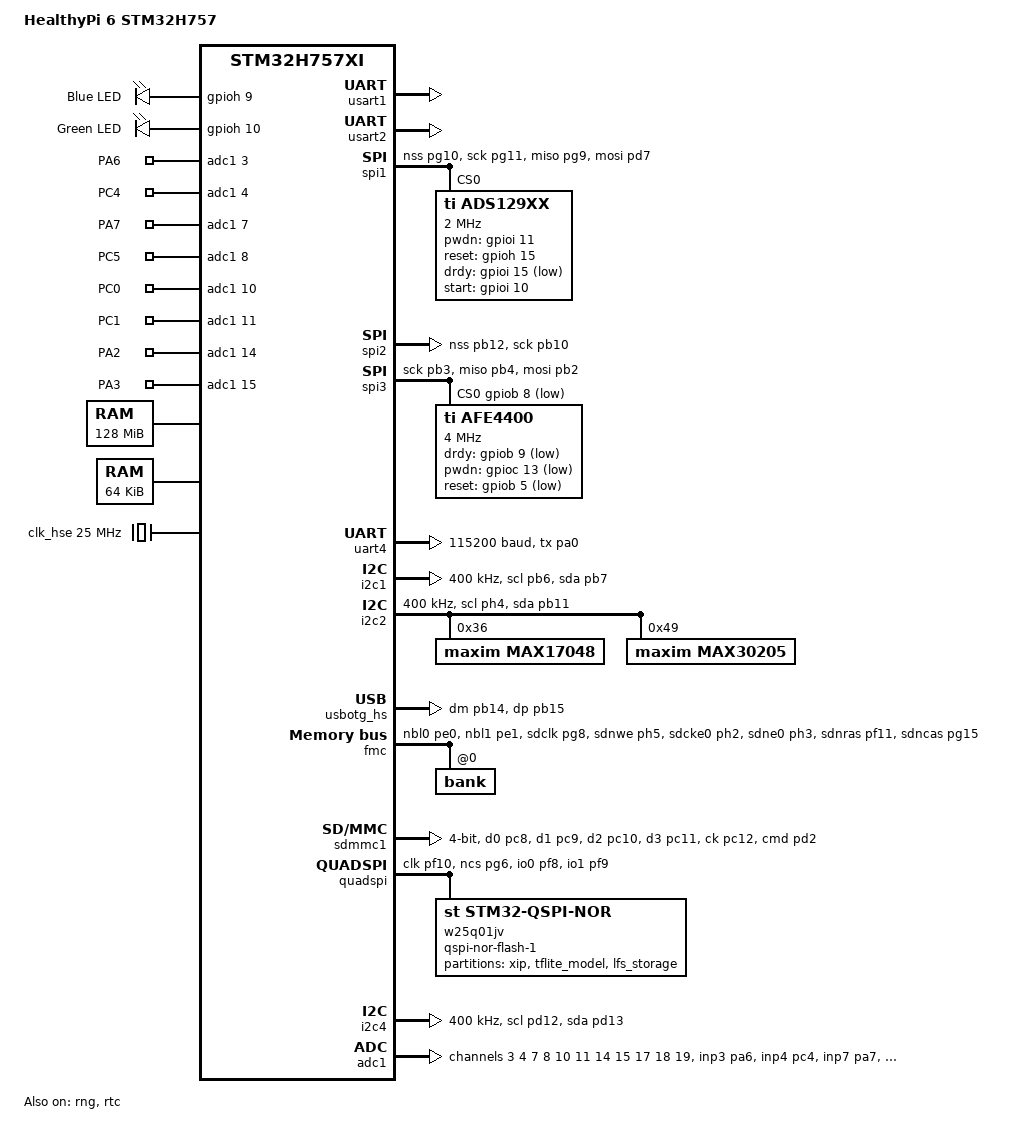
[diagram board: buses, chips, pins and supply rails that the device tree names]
/*
 * Copyright (c) 2019 Linaro Limited
 *
 * SPDX-License-Identifier: Apache-2.0
 */

/dts-v1/;
#include <st/h7/stm32h757Xi_m7.dtsi>
#include <st/h7/stm32h757bitx-pinctrl.dtsi>
#include <zephyr/dt-bindings/memory-attr/memory-attr-arm.h>
#include <zephyr/dt-bindings/adc/adc.h>
#include "healthypi6_v2.dtsi"
/* HealthyLink base definitions now integrated into healthypi6_v2.dtsi */

/* Custom pinctrl for UART4 RX - no pull-up (external resistor on board if needed) */
&pinctrl {
	uart4_rx_pi9_nopull: uart4_rx_pi9_nopull {
		pinmux = <STM32_PINMUX('I', 9, AF8)>;
		/* bias-pull-up disabled - rely on external pull-up if needed */
	};
};

/ {
	model = "HealthyPi 6 STM32H757";
	compatible = "protocentral,healthypi6_v2";

	/* HW resources are split between CM7 and CM4 */
	chosen {
		zephyr,console = &usart1;
		zephyr,shell-uart = &usart1;
		zephyr,sram = &sram0;
		zephyr,flash = &flash0;
		zephyr,flash-controller = &w25q01jv;
		// zephyr,bt-hci = &bt_hci_uart; // Removed for ESP32-C6 UART
		//zephyr,display = &zephyr_lcdif;//&ltdc;
		/* MCUmgr UART transport via ESP32 TCP-to-UART gateway */
		zephyr,uart-mcumgr = &uart4;
	};

	leds {
		compatible = "gpio-leds";
		blue_led: led_blue {
			gpios = <&gpioh 9 GPIO_ACTIVE_HIGH>;
			label = "Blue LED";
			status = "okay";
		};
		green_led: led_green {
			gpios = <&gpioh 10 GPIO_ACTIVE_HIGH>;
			label = "Green LED";
			status = "okay";
		};
	};

	aliases {
		blue-led = &blue_led;
		green-led = &green_led;
	};

	/* Expansion analog inputs. */
	zephyr,user {
		io-channels = <&adc1 3>,   /* PA6 - INP3 */
		              <&adc1 4>,   /* PC4 - INP4 */
		              <&adc1 7>,   /* PA7 - INP7 */
		              <&adc1 8>,   /* PC5 - INP8 */
		              <&adc1 10>,  /* PC0 - INP10 */
		              <&adc1 11>,  /* PC1 - INP11 */
		              <&adc1 14>,  /* PA2 - INP14 */
		              <&adc1 15>,  /* PA3 - INP15 */
		              <&adc1 17>,  /* PA1 - INP17 */
		              <&adc1 18>,  /* PA4 - INP18 */
		              <&adc1 19>;  /* PA5 - INP19 */
		io-channel-names = "PA6", "PC4", "PA7", "PC5", "PC0", "PC1",
		                   "PA2", "PA3", "PA1", "PA4", "PA5";
	};

	/* W9825G6KH SDRAM: 4M x 4 banks x 16 bits = 32 Megabytes
	 * Single chip connected to FMC SDRAM Bank 0 (SDNE0/SDCKE0)
	 * Address range: 0xC0000000 - 0xC1FFFFFF (32 MB)
	 *
	 * NOTE: There is NO second SDRAM chip. FMC Bank 1 (0xD0000000)
	 * is not connected - accessing it causes Bus Fault.
	 * The W9825G6KH has 4 internal banks (BA0/BA1) but these are
	 * managed by the FMC controller automatically.
	 */
	sdram1: sdram@c0000000 {
		compatible = "zephyr,memory-region", "mmio-sram";
		device_type = "memory";
		reg = <0xc0000000 DT_SIZE_M(32)>;  /* Full 32 MB of W9825G6KH */
		zephyr,memory-region = "SDRAM1";
		zephyr,memory-attr = <( DT_MEM_ARM(ATTR_MPU_RAM) )>;
	};

	/* SDRAM2 region REMOVED - no physical memory at 0xD0000000
	 * FMC Bank 1 would require a second SDRAM chip with SDNE1/SDCKE1
	 * pins connected, which is not present on HealthyPi 6 board.
	 */

	ext_memory: memory@90000000 {
		compatible = "zephyr,memory-region";
		reg = <0x90000000 DT_SIZE_M(128)>; /* 1 Gbits */
		zephyr,memory-region = "EXTMEM";
		/* The ATTR_MPU_EXTMEM attribut causing a MPU FAULT */
		zephyr,memory-attr = <( DT_MEM_ARM(ATTR_MPU_IO) )>;
	};

	// IPC between CM7 and CM4 - OpenAMP/RPMSG Implementation
	// OpenAMP manages memory internally with static VRINGs (no dynamic allocation)
	sram_ipc: memory@38000000 {
		 zephyr,memory-region = "SRAM_IPC";
		 compatible = "zephyr,memory-region", "mmio-sram";
		 reg = <0x38000000 0x10000>;  // 64 KB total (full SRAM4)
		 zephyr,memory-attr = <( DT_MEM_ARM(ATTR_MPU_RAM_NOCACHE) )>;
	 };

	ipc0: ipc0 {
		compatible = "zephyr,ipc-openamp-static-vrings";
		memory-region = <&sram_ipc>;
		mboxes = <&mailbox 11>, <&mailbox 10>;
		mbox-names = "tx", "rx";
		role = "host";  // M7 is OpenAMP host, M4 is remote
		zephyr,buffer-size = <512>;  // Match largest message (ECG: 452 bytes)
		status = "okay";
	};
};

/* Hardware wired for LDO supply to Vcore */
&pwr {
	power-supply = "ldo";
};

&clk_hse {
	clock-frequency = <DT_FREQ_M(25)>;
	status = "okay";
};

/* LSE 32.768 kHz crystal for RTC - battery-backed via VBAT pin
 * The LSE oscillator continues running when main power is off,
 * powered by the coin cell battery on VBAT.
 * Driving capability set to highest (3) for reliable crystal startup.
 */
&clk_lse {
	status = "okay";
	driving-capability = <3>;
};

&clk_hsi48 {
	status = "okay";
};

&pll {
	/*div-m = <2>;
	mul-n = <120>;
	div-p = <2>;
	div-q = <8>;
	div-r = <2>;
	clocks = <&clk_hse>;*/

	div-m = <5>;
	mul-n = <160>;
	div-p = <2>;
	div-q = <4>;
	div-r = <2>;
	clocks = <&clk_hse>; 
	status = "okay";
};

&pll2 {
	div-m = <5>;
	mul-n = <96>;
	div-p = <2>;
	div-q = <4>;
	div-r = <10>;
	clocks = <&clk_hse>;
	status = "okay";
};

&rcc {
	clocks = <&pll>;
	clock-frequency = <DT_FREQ_M(400)>;
};

&usart1 {
	status = "okay";
};

&usart2 {
	status = "okay";
};

&spi1 {
	status = "okay";
	pinctrl-0 = <&spi1_nss_pg10 &spi1_sck_pg11
	&spi1_miso_pg9 &spi1_mosi_pd7>;
	pinctrl-names = "default";

	ads129xx: ads129xx@0 {
		compatible = "ti,ads129xx";
		reg = <0x00>;
		spi-max-frequency = <DT_FREQ_M(2)>;

		pwdn-gpios = <&gpioi 11 GPIO_ACTIVE_HIGH>;
		reset-gpios = <&gpioh 15 GPIO_ACTIVE_HIGH>;
		drdy-gpios = <&gpioi 15 GPIO_ACTIVE_LOW>;
		start-gpios = <&gpioi 10 GPIO_ACTIVE_HIGH>;
		
		gain = <6>;

		status = "okay";
	};
};

/* Enable DMA controllers for SPI2 */
&dma1 {
	status = "okay";
};

&dma2 {
	status = "okay";
};

&dmamux1 {
	status = "okay";
};

&spi2 {
	status = "okay";
	/* SPI2 configured for MASTER MODE to drive the ESP32-C6 (clock sourced from M7) */
	pinctrl-0 = <&spi2_nss_pb12 &spi2_sck_pb10
				&spi2_miso_pc2_c &spi2_mosi_pc3_c>;
	pinctrl-names = "default";

	/* DMA configuration available for SPI2
	 * STM32H7 DMAMUX requests (from RM0399 Table 121):
	 * - SPI2_RX_DMA = request 39
	 * - SPI2_TX_DMA = request 40
	 * Format: <&dmamux1 channel request (direction | flags)>
	 */
	dmas = <&dmamux1 0 40 (STM32_DMA_PERIPH_TX | STM32_DMA_PRIORITY_HIGH)>,
		   <&dmamux1 1 39 (STM32_DMA_PERIPH_RX | STM32_DMA_PRIORITY_HIGH)>;
	dma-names = "tx", "rx";
};

&spi3 {
    status = "okay";
    pinctrl-0 = <&spi3_sck_pb3
		&spi3_miso_pb4 &spi3_mosi_pb2>;
    pinctrl-names = "default";
    cs-gpios = <&gpiob 8 GPIO_ACTIVE_LOW>;

	afe4400: afe4400@0 {
		label = "AFE4400";
		status = "okay";
		compatible = "ti,afe4400";
		reg = <0>;
		spi-max-frequency = <DT_FREQ_M(4)>;
		drdy-gpios = <&gpiob 9 GPIO_ACTIVE_LOW>;
		pwdn-gpios = <&gpioc 13 GPIO_ACTIVE_LOW>;  /* PWDN is active LOW: LOW=powered down, HIGH=powered up */
		reset-gpios = <&gpiob 5 GPIO_ACTIVE_LOW>;  /* RESET is active LOW: LOW=reset asserted, HIGH=normal operation */
	};
};

&uart4 {
	/* UART4 for MCUmgr SMP transport (ESP32 TCP-to-UART gateway)
	 * ESP32 receives TCP SMP frames on port 9000 and forwards to M7 via UART4
	 * M7 processes MCUmgr commands and sends responses back
	 * Alt: ESP32 USB passthrough mode for direct mcumgr testing
	 *
	 * NO hardware flow control - ESP32 gateway handles flow at TCP level
	 * RX pin without internal pull-up - rely on external circuitry
	 *
	 * NOTE: DMA intentionally disabled for MCUmgr. Using interrupt-driven mode
	 * because async mode requires buffers in non-cached SRAM which the upstream
	 * uart_mcumgr driver doesn't support. Interrupt mode is sufficient for
	 * MCUmgr's low bandwidth needs (~10KB/s max for firmware uploads).
	 *
	 * FIFO enabled to reduce RX overrun when receiving SMP packets.
	 */
	status = "okay";
	pinctrl-0 = <&uart4_tx_pa0 &uart4_rx_pi9_nopull>;
	pinctrl-names = "default";
	current-speed = <115200>;
	fifo-enable;
};

&i2c1 {
	status = "okay";
	compatible = "st,stm32-i2c-v2";
	pinctrl-0 = <&i2c1_scl_pb6 &i2c1_sda_pb7>;
	pinctrl-names = "default";
	clock-frequency = <I2C_BITRATE_FAST>;
	sq-size = <1024>;
	cq-size = <1024>;
};


&i2c2 {
	status = "okay";
	pinctrl-0 = <&i2c2_scl_ph4 &i2c2_sda_pb11>;
	pinctrl-names = "default";
	clock-frequency = <I2C_BITRATE_FAST>;

	max17048: max17048@36 {
		compatible = "maxim,max17048";
		status = "okay";
		reg = <0x36>;
	};

	max30205: max30205@49 {
		compatible = "maxim,max30205";
		status = "okay";
		reg = <0x49>;
	};
};

/*&usbotg_fs {
	status = "okay";
};*/

&usbotg_hs {
	status = "okay";
};

&flash0 {
	partitions {
		compatible = "fixed-partitions";
		#address-cells = <1>;
		#size-cells = <1>;

		/* Set 2KB of storage at the end of first 1MB flash */
		storage_partition: partition@ff800 {
			label = "storage";
			reg = <0x000ff800 DT_SIZE_K(2)>;
		};
	};
};

&rng {
	status = "okay";
};

/* FMC Configuration for W9825G6KH SDRAM
 *
 * W9825G6KH Memory Organization:
 * - 4M words x 4 banks x 16 bits = 32 MB total
 * - Row Address: A0-A12 (13 bits = 8K rows)
 * - Column Address: A0-A8 (9 bits = 512 columns)
 * - Bank Address: BA0-BA1 (2 bits = 4 internal banks)
 *
 * STM32 FMC Configuration:
 * - NC = 9 (Column bits: A0-A8)  -> STM32_FMC_SDRAM_NC_9
 * - NR = 13 (Row bits: A0-A12)   -> STM32_FMC_SDRAM_NR_13
 * - MWID = 16 (16-bit data bus)  -> STM32_FMC_SDRAM_MWID_16
 * - NB = 4 (4 internal banks)    -> STM32_FMC_SDRAM_NB_4
 *
 * Address calculation: 4M x 4 banks x 16 bits x 2 bytes = 32 MB
 */
&fmc {
	status = "okay";
	pinctrl-0 = <&fmc_nbl0_pe0 &fmc_nbl1_pe1
	&fmc_sdclk_pg8 &fmc_sdnwe_ph5 &fmc_sdcke0_ph2
	&fmc_sdne0_ph3 &fmc_sdnras_pf11 &fmc_sdncas_pg15

	&fmc_a0_pf0 &fmc_a1_pf1 &fmc_a2_pf2 &fmc_a3_pf3 &fmc_a4_pf4
	&fmc_a5_pf5 &fmc_a6_pf12 &fmc_a7_pf13 &fmc_a8_pf14
	&fmc_a9_pf15 &fmc_a10_pg0 &fmc_a11_pg1 &fmc_a12_pg2
	/* BA0 */ &fmc_a14_pg4 /*BA1 */ &fmc_a15_pg5

	&fmc_d0_pd14 &fmc_d1_pd15 &fmc_d2_pd0 &fmc_d3_pd1
	&fmc_d4_pe7 &fmc_d5_pe8 &fmc_d6_pe9 &fmc_d7_pe10
	&fmc_d8_pe11 &fmc_d9_pe12 &fmc_d10_pe13 &fmc_d11_pe14
	&fmc_d12_pe15 &fmc_d13_pd8 &fmc_d14_pd9 &fmc_d15_pd10>;
	pinctrl-names = "default";

	sdram {
		status = "okay";

		power-up-delay = <100>;
		num-auto-refresh = <8>;
		mode-register = <0x220>;
		refresh-rate = <603>;

		/* W9825G6KH on FMC Bank 0 (SDNE0/SDCKE0) @ 0xC0000000 */
		bank@0 {
			reg = <0>;
			st,sdram-control = <STM32_FMC_SDRAM_NC_9
			STM32_FMC_SDRAM_NR_13
			STM32_FMC_SDRAM_MWID_16
			STM32_FMC_SDRAM_NB_4
			STM32_FMC_SDRAM_CAS_2
			STM32_FMC_SDRAM_SDCLK_PERIOD_2
			STM32_FMC_SDRAM_RBURST_ENABLE
			STM32_FMC_SDRAM_RPIPE_0>;
			st,sdram-timing = <2 6 4 6 2 2 2>;
		};

		/* NOTE: No bank@1 - FMC Bank 1 (0xD0000000) not connected
		 * Would require second SDRAM chip with SDNE1/SDCKE1 pins
		 */
	};
};

&sdmmc1 {
	status = "okay";
	clocks = <&rcc STM32_CLOCK_BUS_AHB3 0x00010000>,
	         <&rcc STM32_SRC_PLL2_R SDMMC_SEL(1)>;
	pinctrl-0 = <&sdmmc1_d0_pc8 &sdmmc1_d1_pc9
	&sdmmc1_d2_pc10 &sdmmc1_d3_pc11
	&sdmmc1_ck_pc12 &sdmmc1_cmd_pd2>;
	bus-width = <4>;
	disk-name = "SD";
	pinctrl-names = "default";
	cd-gpios = <&gpioc 7 GPIO_ACTIVE_LOW>;
};

&clk_hsi48 {
	status = "okay";
};


zephyr_udc0: &usbotg_hs {
	status = "okay";
	pinctrl-0 = <&usb_otg_hs_dm_pb14 &usb_otg_hs_dp_pb15>;
	pinctrl-names = "default";
	cdc_acm_uart0: cdc_acm_uart0 {
		compatible = "zephyr,cdc-acm-uart";
	};
};

&mailbox {
	status = "okay";
};

&backup_sram{
	status = "okay";
};

/* RTC - Real-Time Clock with battery backup
 * Uses LSE 32.768 kHz crystal as clock source for accuracy
 * Maintains time when main power is off via VBAT coin cell
 * Backup registers (32 x 32-bit) available for persistent storage
 *
 * NOTE: RTCSEL bits in RCC_BDCR are write-once after backup domain reset.
 * If changing clock source, a backup domain reset may be required.
 */
&rtc {
	status = "okay";
	clocks = <&rcc STM32_CLOCK_BUS_APB4 0x00010000>,
	         <&rcc STM32_SRC_LSE RTC_SEL(1)>;
};

/*
zephyr_udc0: &usbotg_fs {
	status = "okay";
	pinctrl-0 = <&usb_otg_fs_dm_pa11 &usb_otg_fs_dp_pa12>;
	pinctrl-names = "default";


};*/

/*
 * QUADSPI Configuration
 * Note: PE2 (IO2) removed to allow SPI4 to use PE2 for HealthyLink EEG module.
 * This demotes QSPI to dual-SPI mode (2-bit data width instead of 4-bit).
 * Performance impact: ~50% slower QSPI reads, but still adequate for XIP/LittleFS.
 * The W25Q01JV flash chip supports both quad and dual modes.
 */
&quadspi {
	pinctrl-0 = <&quadspi_clk_pf10 &quadspi_bk1_ncs_pg6
	&quadspi_bk1_io0_pf8 &quadspi_bk1_io1_pf9>;
	pinctrl-names = "default";
	status = "okay";

	w25q01jv: qspi-nor-flash-1@90000000 {
		compatible = "st,stm32-qspi-nor";
		reg = <0x90000000>; 
		size = <1073741824>; /* 128 MBytes */
		qspi-max-frequency = <48000000>;
		status = "okay";
		
		partitions {
			compatible = "fixed-partitions";
			#address-cells = <1>;
			#size-cells = <1>;

			/* XIP (Execute In Place) partition - 56MB for code/assets */
			xip_partition: partition@0 {
				label = "xip";
				reg = <0x0 DT_SIZE_M(56)>;
			};

			/* Model storage - 8 MB, XIP-addressable */
			/* Address: 0x90000000 + 0x3800000 = 0x93800000 */
			model_partition: partition@3800000 {
				label = "tflite_model";
				reg = <0x3800000 DT_SIZE_M(8)>;
			};

			/* LittleFS storage partition - Second 64MB */
			lfs_partition: partition@4000000 {
				label = "lfs_storage";
				reg = <0x4000000 DT_SIZE_M(64)>;
			};
		};
	};
};

/* alias used by display shields with touch control */
qsh_030_i2c: &i2c4 {
	pinctrl-0 = <&i2c4_scl_pd12 &i2c4_sda_pd13>;
	pinctrl-names = "default";
	clock-frequency = <I2C_BITRATE_FAST>;
	status = "okay";
};

/* aliases used by display configuration */
zephyr_mipi_dsi: &mipi_dsi {};
zephyr_lcd_controller: &ltdc {};

/* SRAM2 - Non-cached memory for DMA buffers */
&sram2 {
	status = "okay";
	zephyr,memory-attr = <( DT_MEM_ARM(ATTR_MPU_RAM_NOCACHE) )>;
};

/* Internal ADC1 for biosignal acquisition */
/* Channels: PA1-PA7, PC0, PC1, PC4, PC5 */
&adc1 {
	status = "okay";
	#address-cells = <1>;
	#size-cells = <0>;

	pinctrl-0 = <&adc1_inp3_pa6 &adc1_inp4_pc4 &adc1_inp7_pa7 &adc1_inp8_pc5
	             &adc1_inp10_pc0 &adc1_inp11_pc1 &adc1_inp14_pa2 &adc1_inp15_pa3
	             &adc1_inp17_pa1 &adc1_inp18_pa4 &adc1_inp19_pa5>;
	pinctrl-names = "default";

	/* ADC clock configuration for STM32H7 - use synchronous bus clock */
	st,adc-clock-source = "SYNC";
	st,adc-prescaler = <4>;

	/* PA6 - ADC1_INP3 */
	channel@3 {
		reg = <3>;
		zephyr,gain = "ADC_GAIN_1";
		zephyr,reference = "ADC_REF_INTERNAL";
		zephyr,acquisition-time = <ADC_ACQ_TIME(ADC_ACQ_TIME_TICKS, 811)>;
		zephyr,resolution = <16>;
	};

	/* PC4 - ADC1_INP4 */
	channel@4 {
		reg = <4>;
		zephyr,gain = "ADC_GAIN_1";
		zephyr,reference = "ADC_REF_INTERNAL";
		zephyr,acquisition-time = <ADC_ACQ_TIME(ADC_ACQ_TIME_TICKS, 811)>;
		zephyr,resolution = <16>;
	};

	/* PA7 - ADC1_INP7 */
	channel@7 {
		reg = <7>;
		zephyr,gain = "ADC_GAIN_1";
		zephyr,reference = "ADC_REF_INTERNAL";
		zephyr,acquisition-time = <ADC_ACQ_TIME(ADC_ACQ_TIME_TICKS, 811)>;
		zephyr,resolution = <16>;
	};

	/* PC5 - ADC1_INP8 */
	channel@8 {
		reg = <8>;
		zephyr,gain = "ADC_GAIN_1";
		zephyr,reference = "ADC_REF_INTERNAL";
		zephyr,acquisition-time = <ADC_ACQ_TIME(ADC_ACQ_TIME_TICKS, 811)>;
		zephyr,resolution = <16>;
	};

	/* PC0 - ADC1_INP10 */
	channel@a {
		reg = <10>;
		zephyr,gain = "ADC_GAIN_1";
		zephyr,reference = "ADC_REF_INTERNAL";
		zephyr,acquisition-time = <ADC_ACQ_TIME(ADC_ACQ_TIME_TICKS, 811)>;
		zephyr,resolution = <16>;
	};

	/* PC1 - ADC1_INP11 */
	channel@b {
		reg = <11>;
		zephyr,gain = "ADC_GAIN_1";
		zephyr,reference = "ADC_REF_INTERNAL";
		zephyr,acquisition-time = <ADC_ACQ_TIME(ADC_ACQ_TIME_TICKS, 811)>;
		zephyr,resolution = <16>;
	};

	/* PA2 - ADC1_INP14 */
	channel@e {
		reg = <14>;
		zephyr,gain = "ADC_GAIN_1";
		zephyr,reference = "ADC_REF_INTERNAL";
		zephyr,acquisition-time = <ADC_ACQ_TIME(ADC_ACQ_TIME_TICKS, 811)>;
		zephyr,resolution = <16>;
	};

	/* PA3 - ADC1_INP15 */
	channel@f {
		reg = <15>;
		zephyr,gain = "ADC_GAIN_1";
		zephyr,reference = "ADC_REF_INTERNAL";
		zephyr,acquisition-time = <ADC_ACQ_TIME(ADC_ACQ_TIME_TICKS, 811)>;
		zephyr,resolution = <16>;
	};

	/* PA1 - ADC1_INP17 */
	channel@11 {
		reg = <17>;
		zephyr,gain = "ADC_GAIN_1";
		zephyr,reference = "ADC_REF_INTERNAL";
		zephyr,acquisition-time = <ADC_ACQ_TIME(ADC_ACQ_TIME_TICKS, 811)>;
		zephyr,resolution = <16>;
	};

	/* PA4 - ADC1_INP18 */
	channel@12 {
		reg = <18>;
		zephyr,gain = "ADC_GAIN_1";
		zephyr,reference = "ADC_REF_INTERNAL";
		zephyr,acquisition-time = <ADC_ACQ_TIME(ADC_ACQ_TIME_TICKS, 811)>;
		zephyr,resolution = <16>;
	};

	/* PA5 - ADC1_INP19 */
	channel@13 {
		reg = <19>;
		zephyr,gain = "ADC_GAIN_1";
		zephyr,reference = "ADC_REF_INTERNAL";
		zephyr,acquisition-time = <ADC_ACQ_TIME(ADC_ACQ_TIME_TICKS, 811)>;
		zephyr,resolution = <16>;
	};
};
